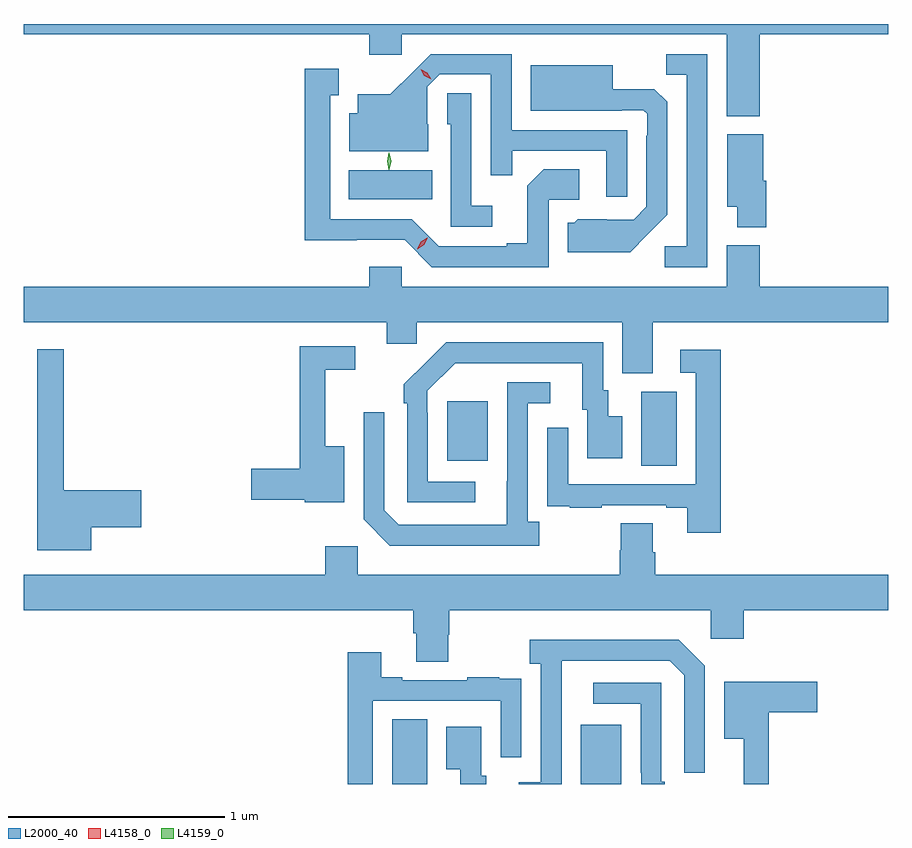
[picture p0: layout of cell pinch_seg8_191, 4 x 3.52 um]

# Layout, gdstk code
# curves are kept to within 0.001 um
import gdstk
lib = gdstk.Library(unit=1e-6, precision=1e-09)
def R(c, l, rs):  # rectangles x0, y0, x1, y1
    for r in rs: c.add(gdstk.rectangle(r[:2], r[2:], *l))
def P(c, l, *ps):  # polygons
    for p in ps: c.add(gdstk.Polygon(p, *l))
L2000_40 = (2000, 40)
L4158_0 = (4158, 0)
L4159_0 = (4159, 0)

pinch_seg8_191 = lib.new_cell('pinch_seg8_191')
R(pinch_seg8_191, L2000_40, [(641.51,1160.985,641.674,1161.284), (642.383,1160.985,642.571,1161.259), (642.662,1162.456,642.826,1162.8), (641.765,1162.481,641.953,1162.756), (641.309,1163.69,641.696,1163.824)])
P(pinch_seg8_191, L2000_40, [(643.211,1164.452),(643.806,1164.452),(643.806,1164.5),(639.806,1164.5),(639.806,1164.452),(641.405,1164.452),(641.405,1164.357),(641.556,1164.357),(641.556,1164.452),(643.058,1164.452),(643.058,1164.074),(643.211,1164.074)],
  [(642.597,1164.009),(642.063,1164.009),(642.063,1164.36),(641.69,1164.36),(641.503,1164.175),(641.351,1164.175),(641.351,1164.088),(641.312,1164.088),(641.312,1163.912),(641.677,1163.912),(641.677,1164.036),(641.673,1164.036),(641.673,1164.21),(641.73,1164.267),(641.967,1164.267),(641.967,1163.8),(642.065,1163.8),(642.065,1163.913),(642.501,1163.913),(642.501,1163.7),(642.597,1163.7)],
  [(642.969,1164.36),(642.778,1164.36),(642.778,1164.265),(642.873,1164.265),(642.873,1163.472),(642.771,1163.472),(642.771,1163.376),(642.969,1163.376)],
  [(642.691,1163.525),(642.783,1163.618),(642.783,1164.14),(642.724,1164.199),(642.532,1164.199),(642.532,1164.31),(642.152,1164.31),(642.152,1164.098),(642.572,1164.098),(642.572,1164.102),(642.672,1164.102),(642.69,1164.084),(642.69,1163.984),(642.687,1163.984),(642.687,1163.655),(642.627,1163.595),(642.37,1163.596),(642.354,1163.58),(642.323,1163.58),(642.323,1163.444),(642.611,1163.444)],
  [(642.234,1163.688),(642.376,1163.688),(642.376,1163.828),(642.211,1163.828),(642.135,1163.752),(642.135,1163.485),(642.041,1163.485),(642.041,1163.472),(641.727,1163.472),(641.601,1163.598),(641.224,1163.598),(641.224,1164.171),(641.263,1164.171),(641.263,1164.292),(641.106,1164.292),(641.106,1163.501),(641.568,1163.502),(641.694,1163.376),(642.234,1163.376)],
  [(641.974,1163.659),(641.877,1163.659),(641.877,1164.179),(641.766,1164.179),(641.766,1164.036),(641.781,1164.036),(641.781,1163.562),(641.974,1163.562)],
  [(643.241,1163.775),(643.228,1163.775),(643.228,1163.989),(643.061,1163.989),(643.061,1163.654),(643.106,1163.654),(643.106,1163.561),(643.241,1163.561)],
  [(641.556,1163.377),(641.405,1163.377),(641.405,1163.284),(639.806,1163.284),(639.806,1163.12),(641.486,1163.12),(641.486,1163.022),(641.625,1163.022),(641.625,1163.12),(642.575,1163.12),(642.575,1162.885),(642.715,1162.885),(642.715,1163.12),(643.806,1163.12),(643.806,1163.284),(643.211,1163.284),(643.211,1163.476),(643.058,1163.476),(643.058,1163.284),(641.556,1163.284)],
  [(641.896,1162.383),(641.676,1162.383),(641.676,1162.703),(641.673,1162.703),(641.673,1162.803),(641.802,1162.932),(642.389,1162.932),(642.389,1162.716),(642.413,1162.716),(642.413,1162.491),(642.574,1162.491),(642.574,1162.687),(642.511,1162.687),(642.511,1162.806),(642.486,1162.806),(642.486,1163.028),(641.762,1163.028),(641.565,1162.833),(641.565,1162.745),(641.58,1162.745),(641.58,1162.287),(641.896,1162.287)],
  [(641.29,1162.546),(641.201,1162.546),(641.201,1162.902),(641.341,1162.902),(641.341,1163.01),(641.083,1163.01),(641.083,1162.442),(640.86,1162.442),(640.86,1162.3),(641.106,1162.3),(641.106,1162.289),(641.29,1162.289)],
  [(640.12,1162.172),(640.351,1162.172),(640.351,1162.343),(639.991,1162.343),(639.991,1162.996),(639.869,1162.996),(639.869,1162.067),(640.12,1162.067)],
  [(643.031,1162.993),(642.843,1162.993),(642.843,1162.887),(642.915,1162.887),(642.915,1162.371),(642.324,1162.371),(642.324,1162.633),(642.228,1162.633),(642.228,1162.378),(642.229,1162.378),(642.229,1162.269),(642.331,1162.269),(642.331,1162.263),(642.479,1162.263),(642.479,1162.275),(642.779,1162.275),(642.779,1162.263),(642.875,1162.263),(642.875,1162.146),(643.031,1162.146)],
  [(642.19,1162.198),(642.138,1162.198),(642.138,1162.746),(642.241,1162.746),(642.241,1162.842),(642.042,1162.842),(642.041,1162.185),(641.541,1162.185),(641.475,1162.251),(641.475,1162.705),(641.379,1162.705),(641.379,1162.209),(641.5,1162.088),(642.19,1162.088)],
  [(641.769,1161.675),(641.774,1161.675),(641.774,1161.788),(642.984,1161.788),(642.984,1161.657),(643.136,1161.657),(643.136,1161.788),(643.806,1161.788),(643.806,1161.952),(642.728,1161.952),(642.728,1162.058),(642.715,1162.058),(642.715,1162.19),(642.568,1162.19),(642.568,1162.065),(642.563,1162.065),(642.563,1161.952),(641.352,1161.952),(641.352,1162.084),(641.201,1162.084),(641.201,1161.952),(639.806,1161.952),(639.806,1161.788),(641.609,1161.788),(641.609,1161.682),(641.621,1161.682),(641.621,1161.55),(641.769,1161.55)],
  [(642.294,1161.355),(642.295,1161.555),(642.795,1161.555),(642.861,1161.489),(642.861,1161.036),(642.957,1161.036),(642.957,1161.531),(642.836,1161.652),(642.147,1161.652),(642.147,1161.542),(642.198,1161.542),(642.198,1160.994),(642.096,1160.994),(642.096,1160.985),(642.294,1160.985)],
  [(641.421,1161.369),(642.012,1161.369),(642.012,1161.108),(642.108,1161.108),(642.108,1161.362),(642.107,1161.362),(642.107,1161.471),(642.005,1161.471),(642.005,1161.478),(641.857,1161.478),(641.857,1161.465),(641.557,1161.465),(641.557,1161.478),(641.461,1161.478),(641.461,1161.595),(641.305,1161.595),(641.305,1160.985),(641.421,1160.985)],
  [(643.253,1161.317),(643.477,1161.317),(643.477,1161.459),(643.046,1161.459),(643.046,1161.194),(643.136,1161.194),(643.136,1160.985),(643.253,1160.985)],
  [(642.771,1160.995),(642.756,1160.995),(642.756,1161.453),(642.441,1161.453),(642.441,1161.357),(642.66,1161.357),(642.66,1161.037),(642.663,1161.037),(642.663,1160.985),(642.771,1160.985)],
  [(641.947,1161.024),(641.923,1161.024),(641.923,1161.25),(641.762,1161.25),(641.762,1161.053),(641.825,1161.053),(641.825,1160.985),(641.947,1160.985)])
P(pinch_seg8_191, L4158_0, [(641.691,1164.244),(641.66,1164.26),(641.643,1164.29),(641.643,1164.29),(641.643,1164.29),(641.674,1164.274),(641.691,1164.245),(641.691,1164.244)],
  [(641.626,1163.458),(641.626,1163.459),(641.643,1163.492),(641.674,1163.511),(641.675,1163.511),(641.675,1163.511),(641.658,1163.478),(641.627,1163.458)])
P(pinch_seg8_191, L4159_0, [(641.496,1163.827),(641.487,1163.866),(641.496,1163.905),(641.496,1163.905),(641.497,1163.905),(641.507,1163.866),(641.497,1163.827),(641.497,1163.827)])

lib.write_gds('pinch_seg8_191.gds')
